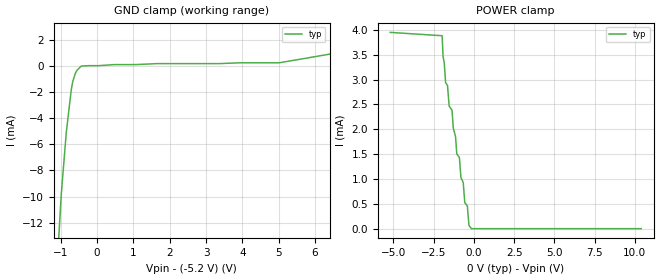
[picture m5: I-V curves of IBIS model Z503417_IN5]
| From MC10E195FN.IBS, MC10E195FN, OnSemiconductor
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| (C) COPYRIGHT 1993-2000
| MENTOR GRAPHICS CORPORATION
| ICX STANDARD LIBRARY, ICX PROJECT MODELING,
| ICX CUSTOM MODELING, ICX VENDOR MODEL
| ALL RIGHTS RESERVED.
| THE FOLLOWING ARE TRADEMARKS OR SERVICE MARKS OF
| MENTOR GRAPHICS CORPORATION:ICX (R), ICX STANDARD
| LIBRARY(R), ICX PROJECT MODELING(R), ICX CUSTOM
| MODELING(R), qualityIBIS(TM), MODELVIEWER(TM),
| AND MODELEDITOR(TM)
| ALL COPIES OF SOFTWARE, INCLUDING BUT NOT LIMITED TO
| ANY MODIFICATIONS, ENHANCEMENTS OR DERIVATIVE WORKS,
| MUST CONTAIN ALL MENTOR GRAPHICS CORPORATION'S
| NOTICES AND LEGENDS, INCLUDING THOSE EMBEDDED IN
| SOFTWARE AND THOSE AFFIXED TO SOFTWARE MEDIUM
| AND CONTAINER, AS RECEIVED FROM MENTOR GRAPHICS
| CORPORATION.
| Model Application Version 1.89 2/18/99.
[Model] Z503417_IN5
Model_type Input_ECL
Vinl = -1.480V
Vinh = -1.130V
C_comp 4.000pF NA NA
| variable typ   min   max
[Voltage Range] -5.200V NA NA
[GND Clamp Reference] -5.200V NA NA
[POWER Clamp Reference] 0.000V NA NA
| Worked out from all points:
|   GND clamp passes 1 mA (typ) near -0.65 V on its own axis
|   POWER clamp passes 1 mA (typ) near -0.77 V on its own axis
[GND Clamp]
-5.2V     -363.2mA   NA         NA
-1.153V   -17.77mA   NA         NA
-985mV    -9.781mA   NA         NA
-850mV    -5.113mA   NA         NA
-712mV    -1.813mA   NA         NA
-674mV    -1.201mA   NA         NA
-596mV    -507.6uA   NA         NA
-552mV    -295.7uA   NA         NA
-435mV    23.73uA    NA         NA
1.66V     211.1uA    NA         NA
5.011V    272uA      NA         NA
10.4V     2.854mA    NA         NA
[POWER Clamp]
-5.2V     3.951mA    NA         NA
-1.976V   3.884mA    NA         NA
-1.918V   3.47mA     NA         NA
-1.758V   2.939mA    NA         NA
-1.641V   2.882mA    NA         NA
-1.539V   2.468mA    NA         NA
-1.36V    2.384mA    NA         NA
-1.064V   1.504mA    NA         NA
-903.2mV  1.432mA    NA         NA
-567.1mV  522.7uA    NA         NA
-153.6mV  0A         NA         NA
10.4V     0A         NA         NA
